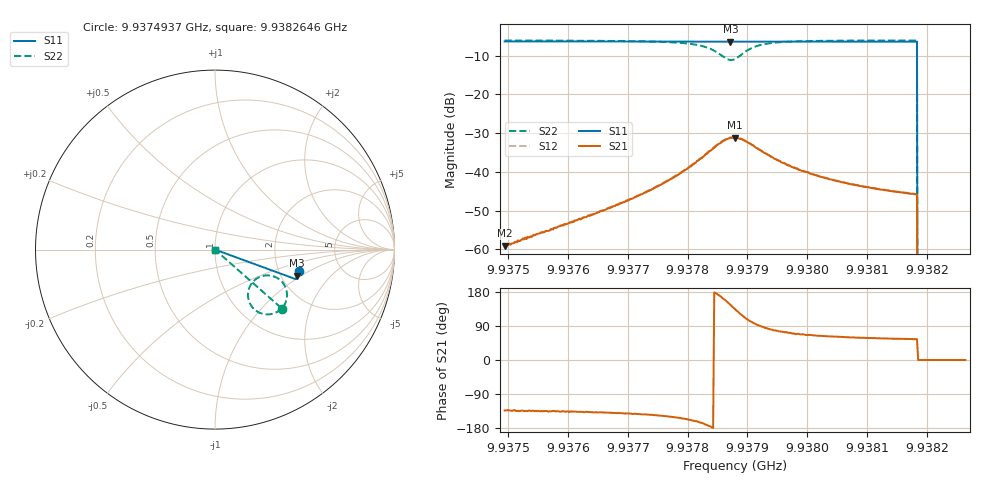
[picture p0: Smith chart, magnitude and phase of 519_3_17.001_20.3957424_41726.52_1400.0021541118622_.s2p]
#  HZ  S  RI  R  50.00
! Rohde & Schwarz Vector Network Analyzer
! Rohde-Schwarz,ZNB20-2Port,1311601062101988,3.16
! Created: UTC 3/20/2024, 11:15:20 PM
! freq[Hz]  re:S11  im:S11  re:S21  im:S21  re:S12  im:S12  re:S22  im:S22
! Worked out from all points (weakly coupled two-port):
!   401 points, 9.9374937 GHz to 9.9382646 GHz, reference 50 ohm
!   highest |S21| = -31.15 dB at 9.9378792 GHz (marker M1); lowest = -59.1 dB at 9.9374937 GHz (marker M2)
!   lowest |S11| = -6.4 dB at 9.9378715 GHz (marker M3), VSWR 2.83, Z = 122 - j45.5 ohm
!   |S11| at or under -10 dB: 9.9381837 GHz to end of sweep
!   |S22| runs from - to -6.1 dB; largest |S21 - S12| = 0.0012
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9.93749371e9  0.4673 -0.1211  -0.000763 -0.000809  -0.000738 -0.000813  0.3709 -0.3299
9.9375072e9  0.467 -0.1221  -0.000829 -0.000862  -0.000862 -0.000863  0.3696 -0.3309
9.93762284e9  0.4644 -0.1298  -0.00183 -0.00171  -0.00187 -0.00169  0.3552 -0.342
9.93769801e9  0.4623 -0.1348  -0.00326 -0.00265  -0.00342 -0.00265  0.3385 -0.351
9.93775197e9  0.461 -0.1386  -0.00555 -0.00366  -0.0057 -0.00363  0.3168 -0.3585
9.93779245e9  0.4596 -0.1413  -0.00917 -0.00435  -0.00939 -0.00429  0.2851 -0.3607
9.93782907e9  0.4578 -0.1435  -0.0163 -0.00282  -0.0166 -0.00273  0.2293 -0.3409
9.93784256e9  0.457 -0.1443  -0.02 -0.0002  -0.0204 0.000357  0.2024 -0.3133
9.93785605e9  0.4561 -0.1445  -0.0233 0.00552  -0.0237 0.00637  0.1841 -0.2631
9.93786569e9  0.4557 -0.1446  -0.0238 0.0115  -0.024 0.0126  0.19 -0.2147
9.93787147e9  0.4555 -0.1444  -0.0227 0.0156  -0.0226 0.0164  0.2056 -0.1865
9.93787918e9  0.4557 -0.1443  -0.0192 0.0199  -0.0189 0.0208  0.2385 -0.1577
9.93788882e9  0.456 -0.1443  -0.0135 0.0228  -0.013 0.0236  0.2879 -0.1435
9.93790231e9  0.4567 -0.1451  -0.00602 0.0228  -0.00551 0.0232  0.3454 -0.1572
9.93792351e9  0.4569 -0.147  0.000494 0.0186  0.00096 0.0187  0.3884 -0.2014
9.93796206e9  0.4565 -0.1499  0.00363 0.0124  0.00386 0.0124  0.4012 -0.2566
9.93800831e9  0.4554 -0.1534  0.00383 0.00849  0.00402 0.00857  0.3956 -0.2885
9.93806999e9  0.4538 -0.1576  0.00351 0.00606  0.00368 0.00608  0.3861 -0.3094
9.93813744e9  0.4519 -0.162  0.00314 0.00475  0.00325 0.00475  0.378 -0.3222
9.93817985e9  0.4509 -0.1648  0.00295 0.00423  0.00303 0.00422  0.3733 -0.3278
9.93818948e9  0 0  0 0  0 0  0 0
9.93826465e9  0 0  0 0  0 0  0 0
